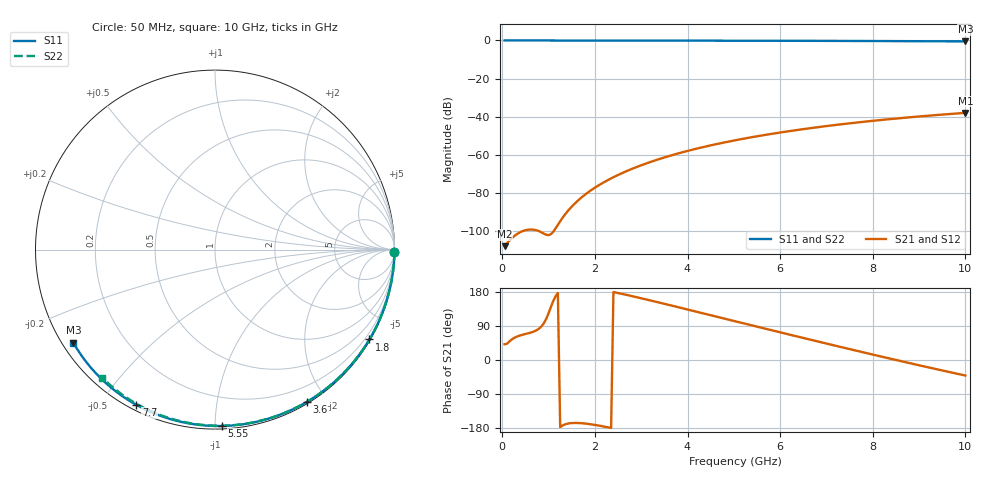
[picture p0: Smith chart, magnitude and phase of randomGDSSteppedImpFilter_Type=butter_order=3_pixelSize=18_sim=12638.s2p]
! freq	dB(S11)	phase(S11)	dB(S12)	phase(S12)
!  dB(S21)	phase(S21)	dB(S22)	phase(S22)
!S-par simulation data
#  GHz  S  DB  R 50
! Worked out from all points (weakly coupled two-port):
!   200 points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, 50 MHz to 10 GHz, reference 50 ohm
!   highest |S21| = -37.91 dB at 10 GHz (marker M1); lowest = -107.7 dB at 50 MHz (marker M2)
!   lowest |S11| = -0.5 dB at 10 GHz (marker M3), VSWR 35.02, Z = 1.56 - j15 ohm
!   |S11| at or under -10 dB: nowhere
!   |S22| runs from -0.4 to 0.0 dB; largest |S21 - S12| = 0
!   S11 on the Smith chart (normalised r, x): 50 MHz: open; 1.8 GHz: 0.03, -3.71; 3.6 GHz: 0.02, -1.77; 5.55 GHz: 0.02, -1.04; 7.7 GHz: 0.02, -0.61; 10 GHz: 0.03, -0.30
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0.05  -0.00 -0.9  -107.74 41.7  -107.74 41.7  -0.00 -0.8
0.45  -0.01 -7.7  -99.75 67.1  -99.75 67.1  -0.01 -6.8
0.9  -0.02 -15.3  -101.19 97.6  -101.19 97.6  -0.02 -13.6
1.3  -0.03 -21.9  -92.93 -172.9  -92.93 -172.9  -0.02 -19.5
1.75  -0.04 -29.4  -81.44 -167.2  -81.44 -167.2  -0.03 -26.2
1.8  -0.04 -30.2  -80.49 -167.8  -80.49 -167.8  -0.03 -26.9
1.85  -0.04 -31.0  -79.59 -168.6  -79.59 -168.6  -0.04 -27.6
2.05  -0.04 -34.3  -76.32 -172.4  -76.32 -172.4  -0.04 -30.6
2.2  -0.05 -36.7  -74.18 -175.7  -74.18 -175.7  -0.04 -32.7
2.55  -0.05 -42.4  -69.88 175.4  -69.88 175.4  -0.05 -37.8
2.95  -0.06 -48.7  -65.82 164.4  -65.82 164.4  -0.06 -43.5
3.4  -0.07 -55.8  -62.02 151.3  -62.02 151.3  -0.07 -49.8
3.6  -0.08 -58.9  -60.54 145.3  -60.54 145.3  -0.07 -52.6
4.3  -0.10 -69.5  -56.05 124.2  -56.05 124.2  -0.09 -62.2
5.05  -0.12 -80.5  -52.18 101.6  -52.18 101.6  -0.11 -72.1
5.55  -0.14 -87.7  -49.98 86.5  -49.98 86.5  -0.13 -78.6
6.1  -0.17 -95.3  -47.84 70.0  -47.84 70.0  -0.15 -85.6
6.7  -0.20 -103.6  -45.78 52.2  -45.78 52.2  -0.18 -93.0
7.7  -0.27 -116.9  -42.85 22.9  -42.85 22.9  -0.24 -105.0
8.35  -0.32 -125.3  -41.24 4.3  -41.24 4.3  -0.29 -112.5
9.2  -0.40 -136.3  -39.41 -19.4  -39.41 -19.4  -0.36 -122.3
10  -0.50 -146.6  -37.91 -41.0  -37.91 -41.0  -0.44 -131.4
